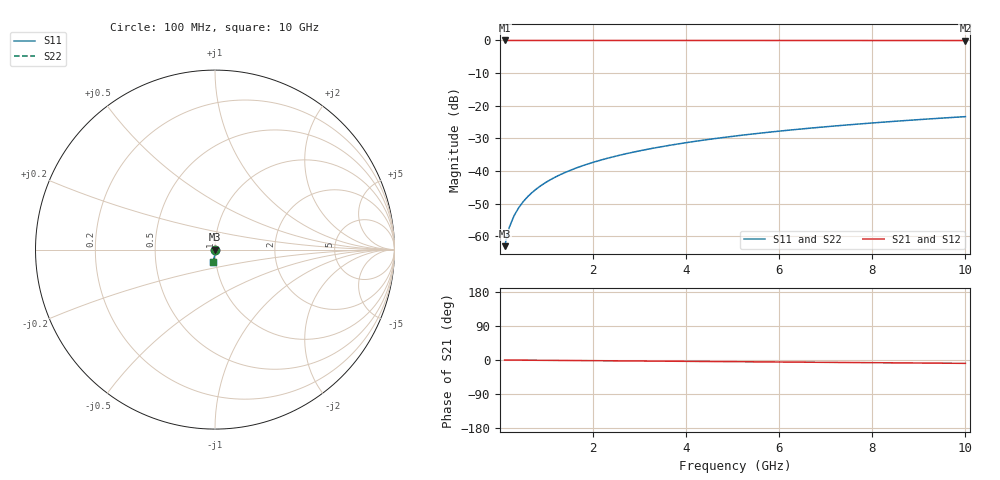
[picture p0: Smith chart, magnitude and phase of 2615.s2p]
# Hz S RI R 50.00
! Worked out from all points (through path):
!   100 points, 100 MHz to 10 GHz, reference 50 ohm
!   highest |S21| = 0.00 dB at 100 MHz (marker M1); lowest = 0.0 dB at 10 GHz (marker M2)
!   group delay of S21, straight-line fit = 2.46 ps
!   lowest |S11| = -63.1 dB at 100 MHz (marker M3), VSWR 1.00, Z = 50 - j0.0676 ohm
!   |S11| at or under -10 dB: start of sweep to end of sweep
!   |S22| runs from -63.1 to -23.4 dB; largest |S21 - S12| = 0
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1e8  0.000191 -0.000676  0.9998 -0.00153  0.9998 -0.00153  0.000191 -0.000676
2e8  0.000188 -0.00135  0.9998 -0.00306  0.9998 -0.00306  0.000188 -0.00135
3e8  0.000183 -0.00203  0.9998 -0.00459  0.9998 -0.00459  0.000183 -0.00203
4e8  0.000176 -0.0027  0.9998 -0.00612  0.9998 -0.00612  0.000176 -0.0027
5e8  0.000166 -0.00338  0.9998 -0.00765  0.9998 -0.00765  0.000166 -0.00338
6e8  0.000154 -0.00406  0.9997 -0.00918  0.9997 -0.00918  0.000154 -0.00406
7e8  0.00014 -0.00473  0.9997 -0.0107  0.9997 -0.0107  0.00014 -0.00473
8e8  0.000124 -0.00541  0.9997 -0.0122  0.9997 -0.0122  0.000124 -0.00541
9e8  0.000106 -0.00609  0.9997 -0.0138  0.9997 -0.0138  0.000106 -0.00609
1.1e9  6.32e-05 -0.00744  0.9996 -0.0168  0.9996 -0.0168  6.32e-05 -0.00744
1.4e9  -1.65e-05 -0.00947  0.9995 -0.0214  0.9995 -0.0214  -1.65e-05 -0.00947
1.8e9  -0.000152 -0.0122  0.9993 -0.0276  0.9993 -0.0276  -0.000152 -0.0122
2.1e9  -0.000276 -0.0142  0.9992 -0.0321  0.9992 -0.0321  -0.000276 -0.0142
2.5e9  -0.00047 -0.0169  0.9989 -0.0383  0.9989 -0.0383  -0.00047 -0.0169
2.9e9  -0.000697 -0.0196  0.9986 -0.0444  0.9986 -0.0444  -0.000697 -0.0196
3.4e9  -0.00103 -0.023  0.9981 -0.0521  0.9981 -0.0521  -0.00103 -0.023
4.2e9  -0.00167 -0.0284  0.9973 -0.0644  0.9973 -0.0644  -0.00167 -0.0284
5.1e9  -0.00255 -0.0345  0.9961 -0.0782  0.9961 -0.0782  -0.00255 -0.0345
5.9e9  -0.00347 -0.0399  0.9948 -0.0904  0.9948 -0.0904  -0.00347 -0.0399
6.7e9  -0.00453 -0.0453  0.9934 -0.1027  0.9934 -0.1027  -0.00453 -0.0453
8.4e9  -0.00723 -0.0566  0.9897 -0.1288  0.9897 -0.1288  -0.00723 -0.0566
1e10  -0.0103 -0.0672  0.9855 -0.1532  0.9855 -0.1532  -0.0103 -0.0672
